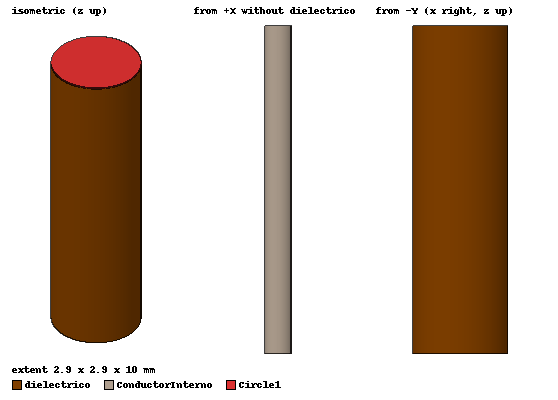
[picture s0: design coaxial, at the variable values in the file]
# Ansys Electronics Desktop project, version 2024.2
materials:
  vacuum: permittivity=1
  pec: conductivity=1e+30
  Teflon (tm): permittivity=2.1 dielectric_loss_tangent=0.001

design coaxial (HFSS, HFSS Modal Network, model units mm)
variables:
  d_interno = 0.8mm
  lenght = 10mm
  d_dielectrico = 2.9mm
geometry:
  ConductorInterno [pec] = cylinder(axis=Z, base_centre=(0mm, 0mm, 0mm), radius=d_interno/2, height=lenght)
  dielectrico [Teflon (tm)] = cylinder(axis=Z, base_centre=(0mm, 0mm, 0mm), radius=d_dielectrico/2, height=lenght)
  ConductorInterno_1 = ConductorInterno.copy()
  dielectrico.subtract(ConductorInterno_1)
  Circle1 = circle(normal=Z, centre=(0mm, 0mm, 10mm), radius=d_dielectrico/2)
  Circle2 = circle(normal=Z, centre=(0mm, 0mm, 0mm), radius=d_dielectrico/2)
  Rectangle1 [non-model] = rectangle(corner=(0, -d_dielectrico/2, 0mm), y_size=d_dielectrico, z_size=10mm)
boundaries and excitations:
  1: Wave Port Objects=Circle1 WavePortType=Modal NumModes=1 Modes{Mode1{IntLine{(-1.45, 0, 10) -> (-0.4, 0, 10)} CharImp=Zpi}}
  2: Wave Port Objects=Circle2 WavePortType=Modal NumModes=1 Modes{Mode1{IntLine{(-1.45, 0, 0) -> (-0.4, 0, 0)} CharImp=Zpi}}
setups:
  Setup1: HfssDriven Frequency=2.5GHz MaxDeltaS=0.02 MaximumPasses=6 MinimumPasses=1 MinimumConvergedPasses=1 PercentRefinement=30 BasisOrder=1 PortAccuracy=2 DrivenSolverType="Direct Solver"
    sweep Sweep: 0.45GHz to 5GHz, 200 points; Type=Interpolating InterpTolerance=0.5 InterpMaxSolns=250 InterpUsePortImped=false PassivityErrorTolerance=0.0001
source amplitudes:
  1:1: 1W 0deg
  2:1: 0W 0deg
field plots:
  Mag_E1: E Field over a plane on Setup1 : LastAdaptive at Freq=2.5GHz Phase=0deg
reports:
  S Parameter Plot 1: dB(S(1,1)), dB(S(2,1)) vs Freq on Setup1 : Sweep
  VSWR Plot 1: VSWR(1), VSWR(2) vs Freq on Setup1 : Sweep
  Port Zo Plot 1: re(Zo(1)), re(Zo(2)) vs Freq on Setup1 : Sweep
